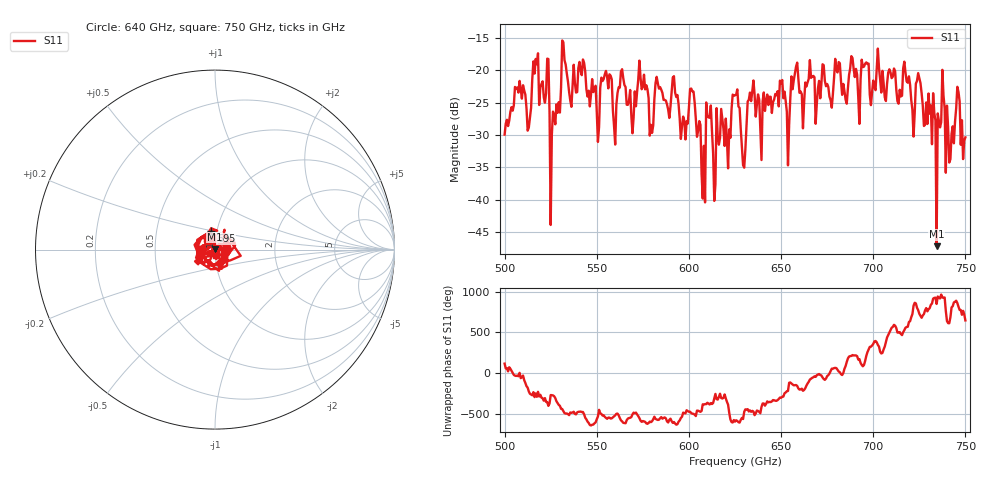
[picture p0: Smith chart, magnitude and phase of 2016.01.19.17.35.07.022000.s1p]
!Created with skrf (http://scikit-rf.org).
# GHz S RI R 50.0
!freq ReS11 ImS11
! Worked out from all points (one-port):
!   401 points, 500 GHz to 750 GHz, reference 50 ohm
!   lowest |S11| = -47.2 dB at 734.4 GHz (marker M1), VSWR 1.01, Z = 49.7 + j0.344 ohm
!   |S11| at or under -10 dB: start of sweep to end of sweep
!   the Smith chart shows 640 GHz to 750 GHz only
!   S11 on the Smith chart (normalised r, x): 640 GHz: 1.12, -0.03; 695 GHz: 0.94, +0.20; 750 GHz: 1.01, -0.06
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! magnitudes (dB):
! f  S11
! 500 GHz  -29.9
! 506.9 GHz  -22.6
! 513.1 GHz  -28.8
! 516.9 GHz  -18.2
! 526.2 GHz  -26.4
! 531.2 GHz  -15.4
! 550 GHz  -26.4
! 556.2 GHz  -22.8
! 560 GHz  -31.5
! 562.5 GHz  -22.7
! 593.8 GHz  -23.8
! 601.9 GHz  -23.2
! 607.5 GHz  -39.8
! 610.6 GHz  -27.3
! 614.4 GHz  -37.6
! 625 GHz  -23.9
! 629.4 GHz  -34.6
! 633.8 GHz  -24.8
! 640 GHz  -24.8
! 656.2 GHz  -22.9
! 687.5 GHz  -19.7
! 695 GHz  -19.4
! 718.8 GHz  -21.9
! 734.4 GHz  -47.2
! 737.5 GHz  -19.9
! 742.5 GHz  -29.8
! 745.6 GHz  -22.5
! 750 GHz  -30.4
